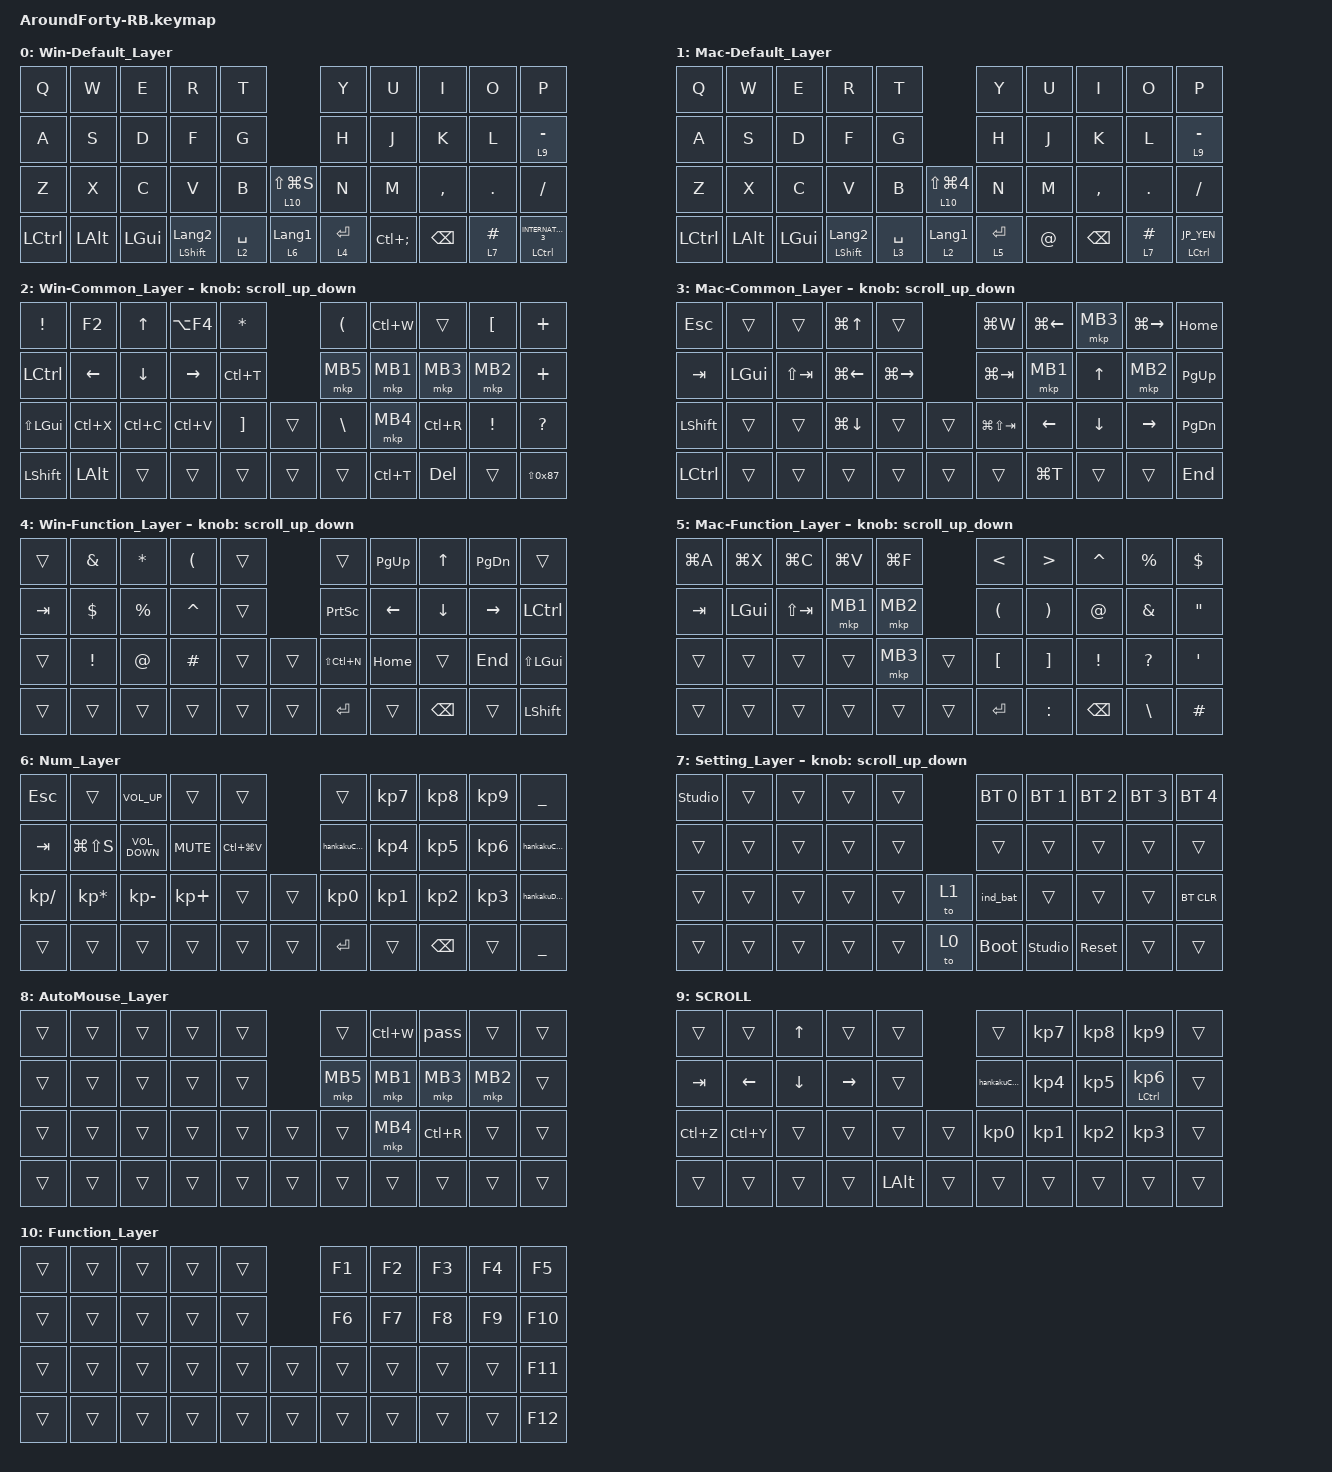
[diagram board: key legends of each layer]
// OS設定を日本語キーボードのまま使用するための変換定義

#define JP_DQUOTE       AT                // "
#define JP_AMPERSAND    CARET             // &
#define JP_QUOTE        AMPERSAND         // '
#define JP_EQUAL        UNDER             // =
#define JP_CARET        EQUAL             // ^
#define JP_YEN          0x89              // ¥
#define JP_PLUS         COLON             // +
#define JP_TILDE        PLUS              // ~
#define JP_PIPE         LS(0x89)          // |
#define JP_AT           LEFT_BRACKET      // @
#define JP_COLON        SINGLE_QUOTE      // :
#define JP_ASTERISK     DOUBLE_QUOTES     // *
#define JP_BACKQUOTE    LEFT_BRACE        // `
#define JP_UNDERSCORE   LS(0x87)          // _
#define JP_LBRACKET     RIGHT_BRACKET     // [
#define JP_RBRACKET     BACKSLASH         // ]
#define JP_LPAREN       ASTERISK          // (
#define JP_RPAREN       LEFT_PARENTHESIS  // )
#define JP_LBRACE       RIGHT_BRACE       // {
#define JP_RBRACE       PIPE              // }
#define JP_KANA         LANGUAGE_1        // かな
#define JP_EISU         LANGUAGE_2        // 英数
#define JP_HANZEN       GRAVE             // 半角/全角
#define ZMK_POINTING_DEFAULT_SCRL_VAL 100
#define MOUSE 6

#include <behaviors/rgbled_widget.dtsi>  // needed to use the behaviors
#include <input/processors.dtsi>
#include <behaviors.dtsi>
#include <dt-bindings/zmk/bt.h>
#include <dt-bindings/zmk/keys.h>
#include <dt-bindings/zmk/pointing.h>

&mkp_input_listener { input-processors = <&zip_temp_layer 8 800>; };

&mt {
    flavor = "balanced";
    quick-tap-ms = <0>;
};

/ {
    combos {
        compatible = "zmk,combos";

        FUNCTIONlayer_ESC {
            bindings = <&lt 10 ESC>;
            key-positions = <39 36>;
        };

        tab {
            bindings = <&kp TAB>;
            key-positions = <11 12>;
        };
    };

    macros {
        to_layer_0: to_layer_0 {
            compatible = "zmk,behavior-macro-one-param";
            #binding-cells = <1>;
            bindings = <&to 0 &macro_param_1to1 &kp MACRO_PLACEHOLDER>;
            label = "TO_LAYER_0";
        };

        hankakuComma: hankakuComma {
            compatible = "zmk,behavior-macro";
            #binding-cells = <0>;
            bindings = <&kp JP_EISU &kp COMMA>;
            label = "HANKAKUCOMMA";
        };

        hankakuDOT: hankakuDOT {
            compatible = "zmk,behavior-macro";
            #binding-cells = <0>;
            bindings = <&kp JP_EISU &kp PERIOD>;
            label = "HANKAKUDOT";
        };

        hankakuCOLON: hankakuCOLON {
            compatible = "zmk,behavior-macro";
            #binding-cells = <0>;
            bindings = <&kp JP_EISU &kp JP_COLON>;
            label = "HANKAKUCOLON";
        };

        pass: pass {
            compatible = "zmk,behavior-macro";
            #binding-cells = <0>;
            bindings = <&kp LS(B) &kp O &kp N &kp G &kp O &kp N3 &kp N1 &kp N2 &kp N0>;
            label = "PASS";
        };
    };

    behaviors {
        lt_to_layer_0: lt_to_layer_0 {
            compatible = "zmk,behavior-hold-tap";
            label = "LAYER_TAP_TO_0";
            bindings = <&mo>, <&to_layer_0>;

            #binding-cells = <2>;
            tapping-term-ms = <200>;
        };

        scroll_up_down: behavior_sensor_rotate_mouse_wheel_up_down {
            compatible = "zmk,behavior-sensor-rotate";
            #sensor-binding-cells = <0>;
            bindings = <&msc SCRL_DOWN>, <&msc SCRL_UP>;

            tap-ms = <20>;
        };
    };

    keymap {
        compatible = "zmk,keymap";

        Win-Default_Layer {
            bindings = <
&kp Q      &kp W         &kp E         &kp R                   &kp T                          &kp Y        &kp U              &kp I          &kp O       &kp P
&kp A      &kp S         &kp D         &kp F                   &kp G                          &kp H        &kp J              &kp K          &kp L       &lt 9 MINUS
&kp Z      &kp X         &kp C         &kp V                   &kp B        &lt 10 LS(LG(S))  &kp N        &kp M              &kp COMMA      &kp PERIOD  &kp SLASH
&kp LCTRL  &kp LEFT_ALT  &kp LEFT_GUI  &mt LEFT_SHIFT JP_EISU  &lt 2 SPACE  &lt 6 JP_KANA     &lt 4 ENTER  &kp LC(SEMICOLON)  &kp BACKSPACE  &lt 7 HASH  &mt LCTRL INTERNATIONAL_3
            >;
        };

        Mac-Default_Layer {
            bindings = <
&kp Q      &kp W         &kp E         &kp R                      &kp T                                 &kp Y        &kp U        &kp I          &kp O       &kp P
&kp A      &kp S         &kp D         &kp F                      &kp G                                 &kp H        &kp J        &kp K          &kp L       &lt 9 MINUS
&kp Z      &kp X         &kp C         &kp V                      &kp B        &lt 10 LS(LG(NUMBER_4))  &kp N        &kp M        &kp COMMA      &kp PERIOD  &kp SLASH
&kp LCTRL  &kp LEFT_ALT  &kp LEFT_GUI  &mt LEFT_SHIFT LANGUAGE_2  &lt 3 SPACE  &lt 2 LANGUAGE_1         &lt 5 ENTER  &kp AT_SIGN  &kp BACKSPACE  &lt 7 HASH  &mt LCTRL JP_YEN
            >;
        };

        Win-Common_Layer {
            bindings = <
&kp EXCLAMATION   &kp F2          &kp UP_ARROW    &kp LA(F4)       &kp JP_LPAREN            &kp JP_RPAREN    &kp LC(W)  &trans      &kp LEFT_BRACKET  &kp PLUS
&kp LEFT_CONTROL  &kp LEFT_ARROW  &kp DOWN_ARROW  &kp RIGHT_ARROW  &kp LC(T)                &mkp MB5         &mkp MB1   &mkp MB3    &mkp MB2          &kp PLUS
&kp LS(LEFT_GUI)  &kp LC(X)       &kp LC(C)       &kp LC(V)        &kp JP_LBRACKET  &trans  &kp JP_RBRACKET  &mkp MB4   &kp LC(R)   &kp EXCLAMATION   &kp QUESTION
&kp LEFT_SHIFT    &kp LEFT_ALT    &trans          &trans           &trans           &trans  &trans           &kp LC(T)  &kp DELETE  &trans            &kp JP_UNDERSCORE
            >;

            sensor-bindings = <&scroll_up_down>;
        };

        Mac-Common_Layer {
            bindings = <
&kp ESCAPE      &trans        &trans       &kp LG(UP_ARROW)    &trans                       &kp LG(W)        &kp LG(LEFT_ARROW)  &mkp MB3        &kp LG(RIGHT_ARROW)  &kp HOME
&kp TAB         &kp LEFT_GUI  &kp LS(TAB)  &kp LG(LEFT_ARROW)  &kp LG(RIGHT_ARROW)          &kp LG(TAB)      &mkp MB1            &kp UP_ARROW    &mkp MB2             &kp PAGE_UP
&kp LEFT_SHIFT  &trans        &trans       &kp LG(DOWN_ARROW)  &trans               &trans  &kp LG(LS(TAB))  &kp LEFT_ARROW      &kp DOWN_ARROW  &kp RIGHT_ARROW      &kp PAGE_DOWN
&kp LCTRL       &trans        &trans       &trans              &trans               &trans  &trans           &kp LG(T)           &trans          &trans               &kp END
            >;

            sensor-bindings = <&scroll_up_down>;
        };

        Win-Function_Layer {
            bindings = <
&trans   &kp JP_QUOTE     &kp JP_LPAREN  &kp JP_RPAREN     &trans          &trans           &kp PAGE_UP     &kp UP_ARROW    &kp PAGE_DOWN    &trans
&kp TAB  &kp DOLLAR       &kp PERCENT    &kp JP_AMPERSAND  &trans          &kp PRINTSCREEN  &kp LEFT_ARROW  &kp DOWN_ARROW  &kp RIGHT_ARROW  &kp LEFT_CONTROL
&trans   &kp EXCLAMATION  &kp JP_DQUOTE  &kp HASH          &trans  &trans  &kp LS(LC(N))    &kp HOME        &trans          &kp END          &kp LS(LEFT_GUI)
&trans   &trans           &trans         &trans            &trans  &trans  &kp ENTER        &trans          &kp BACKSPACE   &trans           &kp LEFT_SHIFT
            >;

            sensor-bindings = <&scroll_up_down>;
        };

        Mac-Function_Layer {
            bindings = <
&kp LG(A)  &kp LG(X)     &kp LG(C)    &kp LG(V)  &kp LG(F)          &kp LESS_THAN         &kp GREATER_THAN       &kp CARET        &kp PERCENT    &kp DOLLAR
&kp TAB    &kp LEFT_GUI  &kp LS(TAB)  &mkp MB1   &mkp MB2           &kp LEFT_PARENTHESIS  &kp RIGHT_PARENTHESIS  &kp AT_SIGN      &kp AMPERSAND  &kp DOUBLE_QUOTES
&trans     &trans        &trans       &trans     &mkp MB3   &trans  &kp LEFT_BRACKET      &kp RIGHT_BRACKET      &kp EXCLAMATION  &kp QUESTION   &kp SQT
&trans     &trans        &trans       &trans     &trans     &trans  &kp ENTER             &kp COLON              &kp BACKSPACE    &kp BACKSLASH  &kp HASH
            >;

            sensor-bindings = <&scroll_up_down>;
        };

        Num_Layer {
            bindings = <
&kp ESCAPE    &trans           &kp C_VOLUME_UP    &trans       &trans                 &trans           &kp KP_NUMBER_7  &kp KP_NUMBER_8  &kp KP_NUMBER_9  &kp JP_EQUAL
&kp TAB       &kp LG(LS(S))    &kp C_VOLUME_DOWN  &kp C_MUTE   &kp LC(LG(V))          &hankakuComma    &kp KP_NUMBER_4  &kp KP_NUMBER_5  &kp KP_NUMBER_6  &hankakuCOLON
&kp KP_SLASH  &kp KP_MULTIPLY  &kp KP_MINUS       &kp KP_PLUS  &trans         &trans  &kp KP_NUMBER_0  &kp KP_NUMBER_1  &kp KP_NUMBER_2  &kp KP_NUMBER_3  &hankakuDOT
&trans        &trans           &trans             &trans       &trans         &trans  &kp ENTER        &trans           &kp BACKSPACE    &trans           &kp JP_EQUAL
            >;
        };

        Setting_Layer {
            bindings = <
&studio_unlock  &trans  &trans  &trans  &trans         &bt BT_SEL 0  &bt BT_SEL 1    &bt BT_SEL 2  &bt BT_SEL 3  &bt BT_SEL 4
&trans          &trans  &trans  &trans  &trans         &trans        &trans          &trans        &trans        &trans
&trans          &trans  &trans  &trans  &trans  &to 1  &ind_bat      &trans          &trans        &trans        &bt BT_CLR
&trans          &trans  &trans  &trans  &trans  &to 0  &bootloader   &studio_unlock  &sys_reset    &trans        &trans
            >;

            sensor-bindings = <&scroll_up_down>;
        };

        AutoMouse_Layer {
            bindings = <
&trans  &trans  &trans  &trans  &trans          &trans    &kp LC(W)  &pass      &trans    &trans
&trans  &trans  &trans  &trans  &trans          &mkp MB5  &mkp MB1   &mkp MB3   &mkp MB2  &trans
&trans  &trans  &trans  &trans  &trans  &trans  &trans    &mkp MB4   &kp LC(R)  &trans    &trans
&trans  &trans  &trans  &trans  &trans  &trans  &trans    &trans     &trans     &trans    &trans
            >;
        };

        SCROLL {
            bindings = <
&trans     &trans          &kp UP_ARROW    &trans           &trans                &trans           &kp KP_NUMBER_7  &kp KP_NUMBER_8  &kp KP_NUMBER_9               &trans
&kp TAB    &kp LEFT_ARROW  &kp DOWN_ARROW  &kp RIGHT_ARROW  &trans                &hankakuComma    &kp KP_NUMBER_4  &kp KP_NUMBER_5  &mt LEFT_CONTROL KP_NUMBER_6  &trans
&kp LC(Z)  &kp LC(Y)       &trans          &trans           &trans        &trans  &kp KP_NUMBER_0  &kp KP_NUMBER_1  &kp KP_NUMBER_2  &kp KP_NUMBER_3               &trans
&trans     &trans          &trans          &trans           &kp LEFT_ALT  &trans  &trans           &trans           &trans           &trans                        &trans
            >;
        };

        Function_Layer {
            bindings = <
&trans  &trans  &trans  &trans  &trans          &kp F1  &kp F2  &kp F3  &kp F4  &kp F5
&trans  &trans  &trans  &trans  &trans          &kp F6  &kp F7  &kp F8  &kp F9  &kp F10
&trans  &trans  &trans  &trans  &trans  &trans  &trans  &trans  &trans  &trans  &kp F11
&trans  &trans  &trans  &trans  &trans  &trans  &trans  &trans  &trans  &trans  &kp F12
            >;
        };
    };
};
